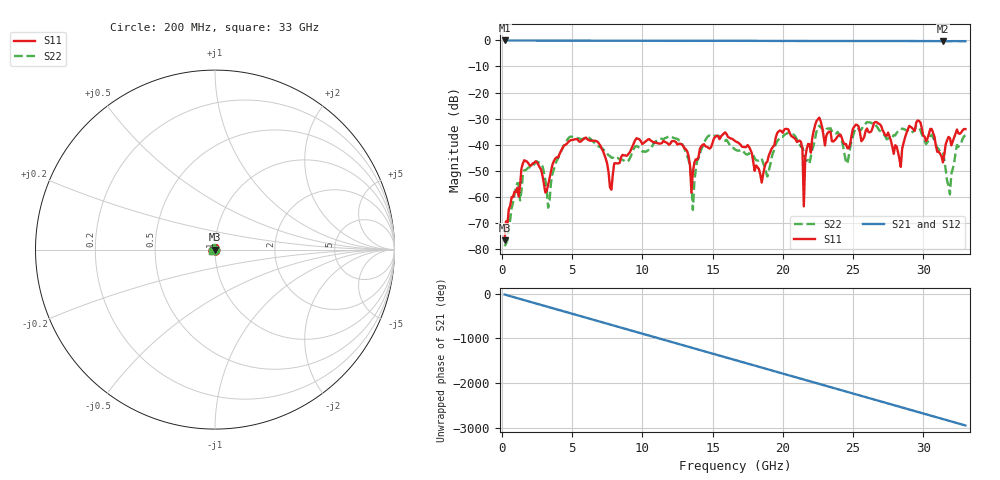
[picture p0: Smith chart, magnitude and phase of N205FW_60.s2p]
# GHZ S RI R 50
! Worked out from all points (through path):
!   329 points, 200 MHz to 33 GHz, reference 50 ohm
!   highest |S21| = -0.02 dB at 200 MHz (marker M1); lowest = -0.3 dB at 31.4 GHz (marker M2)
!   group delay of S21, straight-line fit = 248 ps
!   lowest |S11| = -76.7 dB at 200 MHz (marker M3), VSWR 1.00, Z = 50 - j0.00411 ohm
!   |S11| at or under -10 dB: start of sweep to end of sweep
!   |S22| runs from -78.9 to -31.3 dB; largest |S21 - S12| = 0.0022
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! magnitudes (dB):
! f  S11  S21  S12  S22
! 200 MHz  -76.7  0.0  0.0  -78.9
! 1.6 GHz  -45.9  -0.1  -0.1  -49.7
! 2.8 GHz  -49.6  -0.1  -0.1  -47.3
! 3.3 GHz  -55.4  -0.1  -0.1  -64.1
! 4.4 GHz  -40.5  -0.1  -0.1  -40.4
! 5.7 GHz  -38.4  -0.1  -0.1  -37.8
! 7.8 GHz  -57.2  -0.1  -0.1  -44.9
! 11.2 GHz  -39.6  -0.2  -0.2  -37.9
! 12.9 GHz  -40.4  -0.2  -0.2  -40.3
! 13.6 GHz  -50.5  -0.2  -0.2  -64.9
! 14.6 GHz  -40.7  -0.2  -0.2  -37.3
! 16.6 GHz  -38.6  -0.2  -0.2  -41.8
! 18.5 GHz  -54.5  -0.2  -0.2  -45.2
! 20.4 GHz  -34.1  -0.2  -0.2  -35.3
! 21.3 GHz  -38.9  -0.2  -0.2  -40.9
! 21.5 GHz  -63.6  -0.2  -0.2  -42.9
! 21.6 GHz  -45.0  -0.2  -0.2  -45.7
! 22.1 GHz  -37.3  -0.2  -0.2  -41.8
! 27.6 GHz  -36.8  -0.2  -0.2  -37.1
! 31.4 GHz  -46.8  -0.3  -0.3  -42.9
! 31.9 GHz  -37.4  -0.3  -0.3  -59.0
! 33 GHz  -34.0  -0.3  -0.3  -36.4
